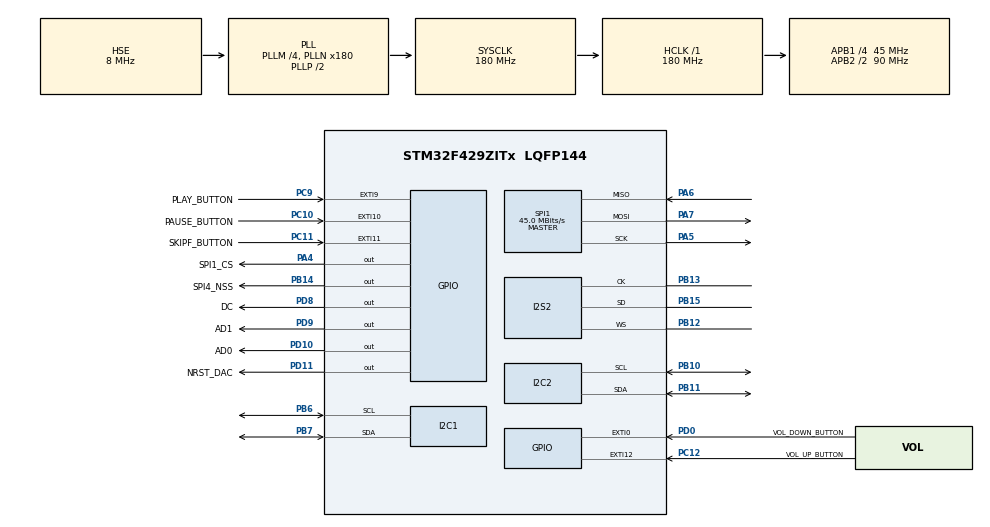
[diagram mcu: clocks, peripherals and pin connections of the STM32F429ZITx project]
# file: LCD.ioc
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Dma.Request0=SPI2_TX
Dma.SPI2_TX.0.Direction=DMA_MEMORY_TO_PERIPH
Dma.SPI2_TX.0.FIFOMode=DMA_FIFOMODE_DISABLE
Dma.SPI2_TX.0.Instance=DMA1_Stream4
Dma.SPI2_TX.0.MemDataAlignment=DMA_MDATAALIGN_HALFWORD
Dma.SPI2_TX.0.MemInc=DMA_MINC_ENABLE
Dma.SPI2_TX.0.Mode=DMA_CIRCULAR
Dma.SPI2_TX.0.PeriphDataAlignment=DMA_PDATAALIGN_HALFWORD
Dma.SPI2_TX.0.PeriphInc=DMA_PINC_DISABLE
Dma.SPI2_TX.0.Priority=DMA_PRIORITY_HIGH
FATFS._MAX_SS=4096
FATFS._USE_LFN=1
I2C1.I2C_Mode=I2C_Fast
I2S2.AudioFreq=I2S_AUDIOFREQ_44K
I2S2.CPOL=I2S_CPOL_LOW
I2S2.ErrorAudioFreq=-1.35 %
I2S2.FullDuplexMode=I2S_FULLDUPLEXMODE_DISABLE
I2S2.Instance=SPI$Index
I2S2.RealAudioFreq=43.402 KHz
I2S2.VirtualMode=I2S_MODE_MASTER
Mcu.Family=STM32F4
Mcu.Name=STM32F429ZITx
Mcu.Package=LQFP144
NVIC.DMA1_Stream4_IRQn=true\:0\:0\:false\:false\:true\:false\:true\:true
NVIC.EXTI15_10_IRQn=true\:0\:0\:false\:false\:true\:true\:true\:true
NVIC.EXTI9_5_IRQn=true\:0\:0\:false\:false\:true\:true\:true\:true
NVIC.PriorityGroup=NVIC_PRIORITYGROUP_4
NVIC.TIM1_TRG_COM_TIM11_IRQn=true\:15\:0\:false\:false\:true\:false\:true\:true
NVIC.TIM2_IRQn=true\:0\:0\:false\:false\:true\:true\:true\:true
NVIC.TimeBase=TIM1_TRG_COM_TIM11_IRQn
NVIC.TimeBaseIP=TIM11
PA13.Mode=Trace_Asynchronous_SW
PA13.Signal=SYS_JTMS-SWDIO
PA14.Mode=Trace_Asynchronous_SW
PA14.Signal=SYS_JTCK-SWCLK
PA4.GPIO_Label=SPI1_CS
PA4.PinState=GPIO_PIN_SET
PA4.Signal=GPIO_Output
PA5.GPIO_Speed=GPIO_SPEED_FREQ_VERY_HIGH
PA5.Mode=Full_Duplex_Master
PA5.Signal=SPI1_SCK
PA6.GPIO_Speed=GPIO_SPEED_FREQ_VERY_HIGH
PA6.Mode=Full_Duplex_Master
PA6.Signal=SPI1_MISO
PA7.GPIO_Speed=GPIO_SPEED_FREQ_VERY_HIGH
PA7.Mode=Full_Duplex_Master
PA7.Signal=SPI1_MOSI
PB10.GPIO_Pu=GPIO_PULLUP
PB10.Mode=I2C
PB10.Signal=I2C2_SCL
PB11.GPIO_Pu=GPIO_PULLUP
PB11.Mode=I2C
PB11.Signal=I2C2_SDA
PB12.GPIO_Speed=GPIO_SPEED_FREQ_VERY_HIGH
PB12.Mode=Half_Duplex_Master
PB12.Signal=I2S2_WS
PB13.GPIO_Speed=GPIO_SPEED_FREQ_VERY_HIGH
PB13.Mode=Half_Duplex_Master
PB13.Signal=I2S2_CK
PB14.GPIO_Label=SPI4_NSS
PB14.Signal=GPIO_Output
PB15.GPIO_Speed=GPIO_SPEED_FREQ_VERY_HIGH
PB15.Mode=Half_Duplex_Master
PB15.Signal=I2S2_SD
PB3.Mode=Trace_Asynchronous_SW
PB3.Signal=SYS_JTDO-SWO
PB6.GPIO_Mode=GPIO_MODE_AF_OD
PB6.GPIO_Pu=GPIO_PULLUP
PB6.GPIO_Speed=GPIO_SPEED_FREQ_VERY_HIGH
PB6.Mode=I2C
PB6.Signal=I2C1_SCL
PB7.GPIO_Mode=GPIO_MODE_AF_OD
PB7.GPIO_Pu=GPIO_PULLUP
PB7.GPIO_Speed=GPIO_SPEED_FREQ_VERY_HIGH
PB7.Mode=I2C
PB7.Signal=I2C1_SDA
PC10.GPIO_Label=PAUSE_BUTTON
PC10.Signal=GPXTI10
PC11.GPIO_Label=SKIPF_BUTTON
PC11.Signal=GPXTI11
PC12.GPIO_Label=VOL_UP_BUTTON
PC12.Signal=GPXTI12
PC9.GPIO_Label=PLAY_BUTTON
PC9.Signal=GPXTI9
PD0.GPIO_Label=VOL_DOWN_BUTTON
PD0.Signal=GPXTI0
PD10.GPIO_Label=AD0
PD10.Signal=GPIO_Output
PD11.GPIO_Label=NRST_DAC
PD11.Signal=GPIO_Output
PD8.GPIO_Label=DC
PD8.Signal=GPIO_Output
PD9.GPIO_Label=AD1
PD9.Signal=GPIO_Output
PH0/OSC_IN.Mode=HSE-External-Oscillator
PH0/OSC_IN.Signal=RCC_OSC_IN
PH1/OSC_OUT.Mode=HSE-External-Oscillator
PH1/OSC_OUT.Signal=RCC_OSC_OUT
ProjectManager.HeapSize=0x2000
ProjectManager.StackSize=0x4000
ProjectManager.TargetToolchain=STM32CubeIDE
RCC.48MHZClocksFreq_Value=90000000
RCC.AHBFreq_Value=180000000
RCC.APB1CLKDivider=RCC_HCLK_DIV4
RCC.APB1Freq_Value=45000000
RCC.APB1TimFreq_Value=90000000
RCC.APB2CLKDivider=RCC_HCLK_DIV2
RCC.APB2Freq_Value=90000000
RCC.APB2TimFreq_Value=180000000
RCC.CortexFreq_Value=180000000
RCC.HCLKFreq_Value=180000000
RCC.HSE_VALUE=8000000
RCC.HSI_VALUE=16000000
RCC.LSE_VALUE=32768
RCC.PLLI2SN=50
RCC.PLLM=4
RCC.PLLN=180
RCC.PLLSourceVirtual=RCC_PLLSOURCE_HSE
RCC.SYSCLKFreq_VALUE=180000000
RCC.SYSCLKSource=RCC_SYSCLKSOURCE_PLLCLK
RCC.VCOOutputFreq_Value=360000000
SPI1.BaudRatePrescaler=SPI_BAUDRATEPRESCALER_2
SPI1.CalculateBaudRate=45.0 MBits/s
SPI1.Direction=SPI_DIRECTION_2LINES
SPI1.Mode=SPI_MODE_MASTER
SPI1.VirtualType=VM_MASTER
STMicroelectronics.X-CUBE-TOUCHGFX.4.22.1.ApplicationCcGraphicsJjApplication=TouchGFXOoGenerator
STMicroelectronics.X-CUBE-TOUCHGFX.4.22.1.tgfx_buffering_strategy=Partial
STMicroelectronics.X-CUBE-TOUCHGFX.4.22.1.tgfx_custom_height=240
STMicroelectronics.X-CUBE-TOUCHGFX.4.22.1.tgfx_custom_width=320
STMicroelectronics.X-CUBE-TOUCHGFX.4.22.1_IsPackSelfContextualization=true
TIM2.Period=50000
TIM2.Prescaler=100
VP_CRC_VS_CRC.Mode=CRC_Activate
VP_FATFS_VS_Generic.Mode=User_defined
VP_STMicroelectronics.X-CUBE-TOUCHGFX_VS_GraphicsJjApplication_4.22.1.Mode=GraphicsJjApplication
VP_SYS_VS_tim11.Mode=TIM11
VP_TIM2_VS_ClockSourceINT.Mode=Internal
board=custom

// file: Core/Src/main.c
/* USER CODE BEGIN Header */
/**
  ******************************************************************************
  * @file           : main.c
  * @brief          : Main program body
  ******************************************************************************
  * @attention
  *
  * Copyright (c) 2023 STMicroelectronics.
  * All rights reserved.
  *
  * This software is licensed under terms that can be found in the LICENSE file
  * in the root directory of this software component.
  * If no LICENSE file comes with this software, it is provided AS-IS.
  *
  ******************************************************************************
  */
/* USER CODE END Header */
#include "main.h"
#include "fatfs.h"
#include "app_touchgfx.h"

/* USER CODE BEGIN Includes */
//#include "ili9341.h"
#include "fatfs_sd.h"
#include <stdio.h>
#include <stdbool.h>
#include <string.h>
#include "cs4350.h"
#include "library.h"
#include "wavplayer.h"
/* USER CODE END Includes */

/* USER CODE BEGIN PTD */

/* Application state controller */
typedef enum
{
  APP_STATE_IDLE = 0,
  APP_STATE_INIT,
  APP_STATE_PLAY,
  APP_STATE_PAUSE,
  APP_STATE_RESUME,
  APP_STATE_SKIPF,
  APP_STATE_SKIPB
}AppStateTypeDef;
/* USER CODE END PTD */

/* USER CODE BEGIN PD */
int _write(int file, char *ptr, int len) {
    int DataIdx;
    for (DataIdx = 0; DataIdx < len; DataIdx++) {
        ITM_SendChar(*ptr++);
    }
    return len;
}
/* USER CODE END PD */

CRC_HandleTypeDef hcrc;

I2C_HandleTypeDef hi2c1;
I2C_HandleTypeDef hi2c2;

I2S_HandleTypeDef hi2s2;
DMA_HandleTypeDef hdma_spi2_tx;

SPI_HandleTypeDef hspi1;

TIM_HandleTypeDef htim2;

/* USER CODE BEGIN PV */
/* Library handle */
Song* library;
Song* current = NULL;

/* DAC handle */
CS4350 codec;

/* App controller state variables */
static volatile AppStateTypeDef app_state;
extern bool wavfile_isfinished;
bool wavplayer_ispaused;
/* USER CODE END PV */

void SystemClock_Config(void);
static void MX_GPIO_Init(void);
static void MX_DMA_Init(void);
static void MX_CRC_Init(void);
static void MX_TIM2_Init(void);
static void MX_I2C2_Init(void);
static void MX_I2C1_Init(void);
static void MX_SPI1_Init(void);
static void MX_I2S2_Init(void);

int main(void)
{

  /* MCU Configuration--------------------------------------------------------*/

  /* Reset of all peripherals, Initializes the Flash interface and the Systick. */
  HAL_Init();

  /* Configure the system clock */
  SystemClock_Config();

  /* Initialize all configured peripherals */
  MX_GPIO_Init();
  MX_DMA_Init();
  MX_CRC_Init();
  MX_TIM2_Init();
  MX_I2C2_Init();
  MX_I2C1_Init();
  MX_SPI1_Init();
  MX_FATFS_Init();
  MX_I2S2_Init();
  MX_TouchGFX_Init();
  /* USER CODE BEGIN 2 */
  /* For the purpose of debugging */
	HAL_TIM_Base_Start_IT(&htim2);
//	ILI9341_Init();

	/* *********************** Begin Testing fatfs *********************** */
//	fatfs_test();
	/* *********************** End Testing fatfs ************************* */

	mount_sd();
	HAL_Delay(10);
	/* Initialize library */
	library = initialize_library();
	current = library;
	/* Read first song header */
	player_song_select(library);
	HAL_Delay(10);

  /* USER CODE END 2 */

  /* Infinite loop */
  /* USER CODE BEGIN WHILE */
	while (1)
	{
		switch (app_state)
		{
		case APP_STATE_IDLE :
			break;

		case APP_STATE_INIT :
			player_play(&hi2s2);
			HAL_Delay(10);
			CS4350_Init(&codec, &hi2c2, GPIOD, NRST_DAC_Pin);

			app_state = APP_STATE_PLAY;
			break;

		case APP_STATE_PLAY :
			player_process();
			break;

		case APP_STATE_PAUSE :
			player_pause(&hi2s2);
			wavplayer_ispaused = true;

			app_state = APP_STATE_IDLE;
			break;

		case APP_STATE_RESUME :
			wavplayer_ispaused = false;
			player_process();

			app_state = APP_STATE_PLAY;
			break;
		}
    /* USER CODE END WHILE */

//  MX_TouchGFX_Process();
    /* USER CODE BEGIN 3 */
//		player_process();
	}
  /* USER CODE END 3 */
}

void SystemClock_Config(void)
{
  RCC_OscInitTypeDef RCC_OscInitStruct = {0};
  RCC_ClkInitTypeDef RCC_ClkInitStruct = {0};

  /** Configure the main internal regulator output voltage
  */
  __HAL_RCC_PWR_CLK_ENABLE();
  __HAL_PWR_VOLTAGESCALING_CONFIG(PWR_REGULATOR_VOLTAGE_SCALE1);

  /** Initializes the RCC Oscillators according to the specified parameters
  * in the RCC_OscInitTypeDef structure.
  */
  RCC_OscInitStruct.OscillatorType = RCC_OSCILLATORTYPE_HSE;
  RCC_OscInitStruct.HSEState = RCC_HSE_ON;
  RCC_OscInitStruct.PLL.PLLState = RCC_PLL_ON;
  RCC_OscInitStruct.PLL.PLLSource = RCC_PLLSOURCE_HSE;
  RCC_OscInitStruct.PLL.PLLM = 4;
  RCC_OscInitStruct.PLL.PLLN = 180;
  RCC_OscInitStruct.PLL.PLLP = RCC_PLLP_DIV2;
  RCC_OscInitStruct.PLL.PLLQ = 4;
  if (HAL_RCC_OscConfig(&RCC_OscInitStruct) != HAL_OK)
  {
    Error_Handler();
  }

  /** Activate the Over-Drive mode
  */
  if (HAL_PWREx_EnableOverDrive() != HAL_OK)
  {
    Error_Handler();
  }

  /** Initializes the CPU, AHB and APB buses clocks
  */
  RCC_ClkInitStruct.ClockType = RCC_CLOCKTYPE_HCLK|RCC_CLOCKTYPE_SYSCLK
                              |RCC_CLOCKTYPE_PCLK1|RCC_CLOCKTYPE_PCLK2;
  RCC_ClkInitStruct.SYSCLKSource = RCC_SYSCLKSOURCE_PLLCLK;
  RCC_ClkInitStruct.AHBCLKDivider = RCC_SYSCLK_DIV1;
  RCC_ClkInitStruct.APB1CLKDivider = RCC_HCLK_DIV4;
  RCC_ClkInitStruct.APB2CLKDivider = RCC_HCLK_DIV2;

  if (HAL_RCC_ClockConfig(&RCC_ClkInitStruct, FLASH_LATENCY_5) != HAL_OK)
  {
    Error_Handler();
  }
}

static void MX_CRC_Init(void)
{

  hcrc.Instance = CRC;
  if (HAL_CRC_Init(&hcrc) != HAL_OK)
  {
    Error_Handler();
  }

}

static void MX_I2C1_Init(void)
{

  hi2c1.Instance = I2C1;
  hi2c1.Init.ClockSpeed = 400000;
  hi2c1.Init.DutyCycle = I2C_DUTYCYCLE_2;
  hi2c1.Init.OwnAddress1 = 0;
  hi2c1.Init.AddressingMode = I2C_ADDRESSINGMODE_7BIT;
  hi2c1.Init.DualAddressMode = I2C_DUALADDRESS_DISABLE;
  hi2c1.Init.OwnAddress2 = 0;
  hi2c1.Init.GeneralCallMode = I2C_GENERALCALL_DISABLE;
  hi2c1.Init.NoStretchMode = I2C_NOSTRETCH_DISABLE;
  if (HAL_I2C_Init(&hi2c1) != HAL_OK)
  {
    Error_Handler();
  }

  /** Configure Analogue filter
  */
  if (HAL_I2CEx_ConfigAnalogFilter(&hi2c1, I2C_ANALOGFILTER_ENABLE) != HAL_OK)
  {
    Error_Handler();
  }

  /** Configure Digital filter
  */
  if (HAL_I2CEx_ConfigDigitalFilter(&hi2c1, 0) != HAL_OK)
  {
    Error_Handler();
  }

}

static void MX_I2C2_Init(void)
{

  hi2c2.Instance = I2C2;
  hi2c2.Init.ClockSpeed = 100000;
  hi2c2.Init.DutyCycle = I2C_DUTYCYCLE_2;
  hi2c2.Init.OwnAddress1 = 0;
  hi2c2.Init.AddressingMode = I2C_ADDRESSINGMODE_7BIT;
  hi2c2.Init.DualAddressMode = I2C_DUALADDRESS_DISABLE;
  hi2c2.Init.OwnAddress2 = 0;
  hi2c2.Init.GeneralCallMode = I2C_GENERALCALL_DISABLE;
  hi2c2.Init.NoStretchMode = I2C_NOSTRETCH_DISABLE;
  if (HAL_I2C_Init(&hi2c2) != HAL_OK)
  {
    Error_Handler();
  }

  /** Configure Analogue filter
  */
  if (HAL_I2CEx_ConfigAnalogFilter(&hi2c2, I2C_ANALOGFILTER_ENABLE) != HAL_OK)
  {
    Error_Handler();
  }

  /** Configure Digital filter
  */
  if (HAL_I2CEx_ConfigDigitalFilter(&hi2c2, 0) != HAL_OK)
  {
    Error_Handler();
  }

}

static void MX_I2S2_Init(void)
{

  hi2s2.Instance = SPI2;
  hi2s2.Init.Mode = I2S_MODE_MASTER_TX;
  hi2s2.Init.Standard = I2S_STANDARD_PHILIPS;
  hi2s2.Init.DataFormat = I2S_DATAFORMAT_16B;
  hi2s2.Init.MCLKOutput = I2S_MCLKOUTPUT_DISABLE;
  hi2s2.Init.AudioFreq = I2S_AUDIOFREQ_44K;
  hi2s2.Init.CPOL = I2S_CPOL_LOW;
  hi2s2.Init.ClockSource = I2S_CLOCK_PLL;
  hi2s2.Init.FullDuplexMode = I2S_FULLDUPLEXMODE_DISABLE;
  if (HAL_I2S_Init(&hi2s2) != HAL_OK)
  {
    Error_Handler();
  }

}

static void MX_SPI1_Init(void)
{

  /* SPI1 parameter configuration*/
  hspi1.Instance = SPI1;
  hspi1.Init.Mode = SPI_MODE_MASTER;
  hspi1.Init.Direction = SPI_DIRECTION_2LINES;
  hspi1.Init.DataSize = SPI_DATASIZE_8BIT;
  hspi1.Init.CLKPolarity = SPI_POLARITY_LOW;
  hspi1.Init.CLKPhase = SPI_PHASE_1EDGE;
  hspi1.Init.NSS = SPI_NSS_SOFT;
  hspi1.Init.BaudRatePrescaler = SPI_BAUDRATEPRESCALER_2;
  hspi1.Init.FirstBit = SPI_FIRSTBIT_MSB;
  hspi1.Init.TIMode = SPI_TIMODE_DISABLE;
  hspi1.Init.CRCCalculation = SPI_CRCCALCULATION_DISABLE;
  hspi1.Init.CRCPolynomial = 10;
  if (HAL_SPI_Init(&hspi1) != HAL_OK)
  {
    Error_Handler();
  }

}

static void MX_TIM2_Init(void)
{

  TIM_ClockConfigTypeDef sClockSourceConfig = {0};
  TIM_MasterConfigTypeDef sMasterConfig = {0};

  htim2.Instance = TIM2;
  htim2.Init.Prescaler = 100;
  htim2.Init.CounterMode = TIM_COUNTERMODE_UP;
  htim2.Init.Period = 50000;
  htim2.Init.ClockDivision = TIM_CLOCKDIVISION_DIV1;
  htim2.Init.AutoReloadPreload = TIM_AUTORELOAD_PRELOAD_DISABLE;
  if (HAL_TIM_Base_Init(&htim2) != HAL_OK)
  {
    Error_Handler();
  }
  sClockSourceConfig.ClockSource = TIM_CLOCKSOURCE_INTERNAL;
  if (HAL_TIM_ConfigClockSource(&htim2, &sClockSourceConfig) != HAL_OK)
  {
    Error_Handler();
  }
  sMasterConfig.MasterOutputTrigger = TIM_TRGO_RESET;
  sMasterConfig.MasterSlaveMode = TIM_MASTERSLAVEMODE_DISABLE;
  if (HAL_TIMEx_MasterConfigSynchronization(&htim2, &sMasterConfig) != HAL_OK)
  {
    Error_Handler();
  }

}

static void MX_DMA_Init(void)
{

  /* DMA controller clock enable */
  __HAL_RCC_DMA1_CLK_ENABLE();

  /* DMA interrupt init */
  /* DMA1_Stream4_IRQn interrupt configuration */
  HAL_NVIC_SetPriority(DMA1_Stream4_IRQn, 0, 0);
  HAL_NVIC_EnableIRQ(DMA1_Stream4_IRQn);

}

static void MX_GPIO_Init(void)
{
  GPIO_InitTypeDef GPIO_InitStruct = {0};

  /* GPIO Ports Clock Enable */
  __HAL_RCC_GPIOH_CLK_ENABLE();
  __HAL_RCC_GPIOA_CLK_ENABLE();
  __HAL_RCC_GPIOB_CLK_ENABLE();
  __HAL_RCC_GPIOD_CLK_ENABLE();
  __HAL_RCC_GPIOC_CLK_ENABLE();

  /*Configure GPIO pin Output Level */
  HAL_GPIO_WritePin(SPI1_CS_GPIO_Port, SPI1_CS_Pin, GPIO_PIN_SET);

  /*Configure GPIO pin Output Level */
  HAL_GPIO_WritePin(SPI4_NSS_GPIO_Port, SPI4_NSS_Pin, GPIO_PIN_RESET);

  /*Configure GPIO pin Output Level */
  HAL_GPIO_WritePin(GPIOD, DC_Pin|AD1_Pin|AD0_Pin|NRST_DAC_Pin, GPIO_PIN_RESET);

  /*Configure GPIO pin : SPI1_CS_Pin */
  GPIO_InitStruct.Pin = SPI1_CS_Pin;
  GPIO_InitStruct.Mode = GPIO_MODE_OUTPUT_PP;
  GPIO_InitStruct.Pull = GPIO_NOPULL;
  GPIO_InitStruct.Speed = GPIO_SPEED_FREQ_LOW;
  HAL_GPIO_Init(SPI1_CS_GPIO_Port, &GPIO_InitStruct);

  /*Configure GPIO pin : SPI4_NSS_Pin */
  GPIO_InitStruct.Pin = SPI4_NSS_Pin;
  GPIO_InitStruct.Mode = GPIO_MODE_OUTPUT_PP;
  GPIO_InitStruct.Pull = GPIO_NOPULL;
  GPIO_InitStruct.Speed = GPIO_SPEED_FREQ_LOW;
  HAL_GPIO_Init(SPI4_NSS_GPIO_Port, &GPIO_InitStruct);

  /*Configure GPIO pins : DC_Pin AD1_Pin AD0_Pin NRST_DAC_Pin */
  GPIO_InitStruct.Pin = DC_Pin|AD1_Pin|AD0_Pin|NRST_DAC_Pin;
  GPIO_InitStruct.Mode = GPIO_MODE_OUTPUT_PP;
  GPIO_InitStruct.Pull = GPIO_NOPULL;
  GPIO_InitStruct.Speed = GPIO_SPEED_FREQ_LOW;
  HAL_GPIO_Init(GPIOD, &GPIO_InitStruct);

  /*Configure GPIO pins : PLAY_BUTTON_Pin PAUSE_BUTTON_Pin SKIPF_BUTTON_Pin VOL_UP_BUTTON_Pin */
  GPIO_InitStruct.Pin = PLAY_BUTTON_Pin|PAUSE_BUTTON_Pin|SKIPF_BUTTON_Pin|VOL_UP_BUTTON_Pin;
  GPIO_InitStruct.Mode = GPIO_MODE_IT_RISING;
  GPIO_InitStruct.Pull = GPIO_NOPULL;
  HAL_GPIO_Init(GPIOC, &GPIO_InitStruct);

  /*Configure GPIO pin : VOL_DOWN_BUTTON_Pin */
  GPIO_InitStruct.Pin = VOL_DOWN_BUTTON_Pin;
  GPIO_InitStruct.Mode = GPIO_MODE_IT_RISING;
  GPIO_InitStruct.Pull = GPIO_NOPULL;
  HAL_GPIO_Init(VOL_DOWN_BUTTON_GPIO_Port, &GPIO_InitStruct);

  /* EXTI interrupt init*/
  HAL_NVIC_SetPriority(EXTI9_5_IRQn, 0, 0);
  HAL_NVIC_EnableIRQ(EXTI9_5_IRQn);

  HAL_NVIC_SetPriority(EXTI15_10_IRQn, 0, 0);
  HAL_NVIC_EnableIRQ(EXTI15_10_IRQn);

}

/* USER CODE BEGIN 4 */
extern void touchgfxSignalVSync(void);

void HAL_TIM_PeriodElapsedCallback(TIM_HandleTypeDef *htim)
{
	if (htim->Instance == TIM2)
	{
		touchgfxSignalVSync();
	}
	if (htim->Instance == TIM11) {
		HAL_IncTick();
	}
}

void HAL_GPIO_EXTI_Callback(uint16_t GPIO_Pin)
{
	if (GPIO_Pin == PLAY_BUTTON_Pin && app_state != APP_STATE_PLAY)
	{
		/* Resume player if player is paused */
		if (wavplayer_ispaused)
		{
			player_resume(&hi2s2);
			app_state = APP_STATE_RESUME;
			return;
		}
		/* Otherwise initialize player */
		app_state = APP_STATE_INIT;
	}
	if (GPIO_Pin == PAUSE_BUTTON_Pin && app_state != APP_STATE_PAUSE)
	{
		app_state = APP_STATE_PAUSE;
	}
	if (GPIO_Pin == SKIPF_BUTTON_Pin)
	{
//		player_skip(current);
//		current = current->next->next;
//		app_state = APP_STATE_INIT;
	}
	if (GPIO_Pin == VOL_UP_BUTTON_Pin)
	{
		CS4350_increase_vol(&codec);
	}
	if (GPIO_Pin == VOL_DOWN_BUTTON_Pin)
	{
		CS4350_decrease_vol(&codec);
	}
	else
	{
		__NOP();
	}
}
/* USER CODE END 4 */

//void HAL_TIM_PeriodElapsedCallback(TIM_HandleTypeDef *htim)
//{
//  /* USER CODE BEGIN Callback 0 */
//////////////////////////////////////////////////////////////////////////////////////
//  /* USER CODE END Callback 0 */
//  if (htim->Instance == TIM11) {
//    HAL_IncTick();
//  }
//  /* USER CODE BEGIN Callback 1 */
//////////////////////////////////////////////////////////////////////////////////////
//  /* USER CODE END Callback 1 */
//}

void Error_Handler(void)
{
  __disable_irq();
  while (1)
  {
  }
}
